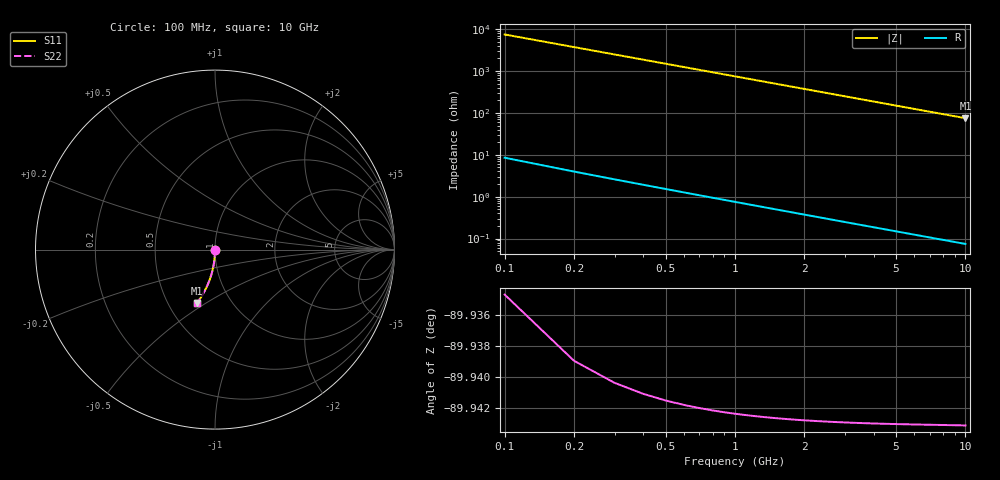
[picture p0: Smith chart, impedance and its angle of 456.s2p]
# Hz S RI R 50.00
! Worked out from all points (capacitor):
!   100 points, 100 MHz to 10 GHz, reference 50 ohm
!   read as one part in shunt: C = 213 fF near 100 MHz
!   lowest |Z| = 74.9 ohm at 10 GHz (marker M1)
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1e8  -7.24e-06 -0.00332  1 -0.00338  1 -0.00338  -7.24e-06 -0.00332
2e8  -4.41e-05 -0.00664  0.9999 -0.00676  0.9999 -0.00676  -4.41e-05 -0.00664
3e8  -0.000103 -0.00996  0.9999 -0.0101  0.9999 -0.0101  -0.000103 -0.00996
4e8  -0.000185 -0.0133  0.9998 -0.0135  0.9998 -0.0135  -0.000185 -0.0133
5e8  -0.000289 -0.0166  0.9997 -0.0169  0.9997 -0.0169  -0.000289 -0.0166
6e8  -0.000416 -0.0199  0.9996 -0.0203  0.9996 -0.0203  -0.000416 -0.0199
7e8  -0.000565 -0.0232  0.9994 -0.0236  0.9994 -0.0236  -0.000565 -0.0232
8e8  -0.000736 -0.0265  0.9992 -0.027  0.9992 -0.027  -0.000736 -0.0265
9e8  -0.00093 -0.0298  0.9991 -0.0304  0.9991 -0.0304  -0.00093 -0.0298
1.1e9  -0.00138 -0.0365  0.9986 -0.0371  0.9986 -0.0371  -0.00138 -0.0365
1.4e9  -0.00223 -0.0464  0.9978 -0.0472  0.9978 -0.0472  -0.00223 -0.0464
1.8e9  -0.00367 -0.0595  0.9963 -0.0606  0.9963 -0.0606  -0.00367 -0.0595
2.1e9  -0.00498 -0.0693  0.995 -0.0706  0.995 -0.0706  -0.00498 -0.0693
2.5e9  -0.00703 -0.0824  0.993 -0.0839  0.993 -0.0839  -0.00703 -0.0824
2.9e9  -0.00942 -0.0953  0.9906 -0.097  0.9906 -0.097  -0.00942 -0.0953
3.4e9  -0.0129 -0.1113  0.9871 -0.1134  0.9871 -0.1134  -0.0129 -0.1113
4.2e9  -0.0195 -0.1366  0.9805 -0.1391  0.9805 -0.1391  -0.0195 -0.1366
5.1e9  -0.0285 -0.1642  0.9715 -0.1673  0.9715 -0.1673  -0.0285 -0.1642
5.9e9  -0.0377 -0.1881  0.9623 -0.1917  0.9623 -0.1917  -0.0377 -0.1881
6.7e9  -0.048 -0.2113  0.952 -0.2154  0.952 -0.2154  -0.048 -0.2113
8.4e9  -0.0733 -0.2576  0.9266 -0.2628  0.9266 -0.2628  -0.0733 -0.2576
1e10  -0.1007 -0.2973  0.8993 -0.3035  0.8993 -0.3035  -0.1007 -0.2973
